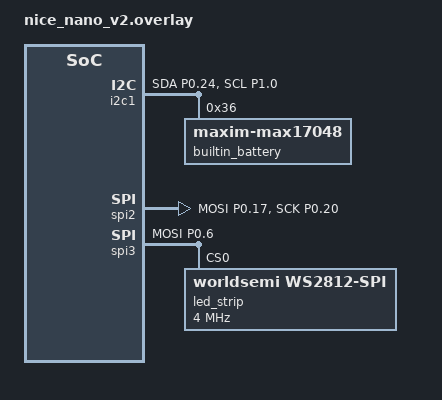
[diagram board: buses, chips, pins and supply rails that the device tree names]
#include <dt-bindings/led/led.h>
&pinctrl {
    i2c1_default: i2c1_default {
        group1 {
            psels = <NRF_PSEL(TWIM_SDA, 0, 24)>,
	    <NRF_PSEL(TWIM_SCL, 1, 0)>;
	    bias-pull-up;
        };
    };

    i2c1_sleep: i2c1_sleep {
        group1 {
            psels = <NRF_PSEL(TWIM_SDA, 0, 24)>,
	    <NRF_PSEL(TWIM_SCL, 1, 0)>;
            low-power-enable;
	    bias-pull-up;
        };
    };

    spi2_default: spi2_default {
				group1 {
				psels = <NRF_PSEL(SPIM_MOSI, 0, 17)>,
				<NRF_PSEL(SPIM_SCK, 0, 20)>;
				};
		};
	
    spi2_sleep: spi2_sleep {
				group1 {
					psels = <NRF_PSEL(SPIM_MOSI, 0, 17)>,
					<NRF_PSEL(SPIM_SCK,0, 20)>;
					low-power-enable;
				};
		};
   spi3_default: spi3_default {
        group1 {
            psels = <NRF_PSEL(SPIM_MOSI, 0, 6)>;
        };
    };

    spi3_sleep: spi3_sleep {
        group1 {
            psels = <NRF_PSEL(SPIM_MOSI, 0, 6)>;
            low-power-enable;
        };
    };
};


&i2c1 {
	compatible = "nordic,nrf-twi";
	pinctrl-0 = <&i2c1_default>;
	pinctrl-1 = <&i2c1_sleep>;
	pinctrl-names = "default", "sleep"; 
	

	builtin_battery: max17048@36 {
		compatible = "zmk,maxim-max17048";
		status = "okay";
		reg = <0x36>;
	};

	status = "okay";
};

lpm_view_spi: &spi2 {
    compatible = "nordic,nrf-spim";
    pinctrl-0 = <&spi2_default>;
    pinctrl-1 = <&spi2_sleep>;
    pinctrl-names = "default", "sleep";
    cs-gpios = <&gpio0 6 (GPIO_ACTIVE_HIGH | GPIO_PULL_DOWN) >;
};

nice_view_spi: &spi2 {
    compatible = "nordic,nrf-spim";
    pinctrl-0 = <&spi2_default>;
    pinctrl-1 = <&spi2_sleep>;
    pinctrl-names = "default", "sleep";
    cs-gpios = <&gpio0 6 (GPIO_ACTIVE_HIGH | GPIO_PULL_DOWN) >;
};





&spi3 {
    compatible = "nordic,nrf-spim";
    status = "okay";

    pinctrl-0 = <&spi3_default>;
    pinctrl-1 = <&spi3_sleep>;
    pinctrl-names = "default", "sleep";

    led_strip: ws2812@0 {
        compatible = "worldsemi,ws2812-spi";

        /* SPI */
        reg = <0>; /* ignored, but necessary for SPI bindings */
        spi-max-frequency = <4000000>;

        /* WS2812 */
        chain-length = <10>; /* arbitrary; change at will */
        spi-one-frame = <0x70>;
        spi-zero-frame = <0x40>;

        color-mapping = <LED_COLOR_ID_GREEN LED_COLOR_ID_RED LED_COLOR_ID_BLUE>;
    };
};

/ {
    chosen {
        zmk,underglow = &led_strip;
    };
};
